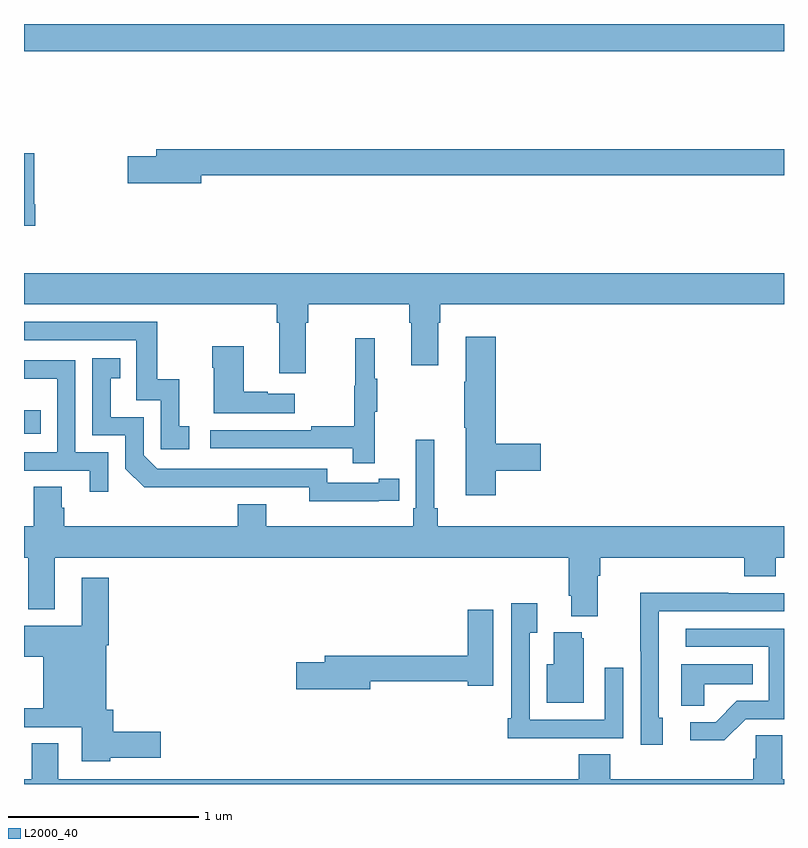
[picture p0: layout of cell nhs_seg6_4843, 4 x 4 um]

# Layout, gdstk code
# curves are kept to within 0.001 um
import gdstk
lib = gdstk.Library(unit=1e-6, precision=1e-09)
def R(c, l, rs):  # rectangles x0, y0, x1, y1
    for r in rs: c.add(gdstk.rectangle(r[:2], r[2:], *l))
def P(c, l, *ps):  # polygons
    for p in ps: c.add(gdstk.Polygon(p, *l))
L2000_40 = (2000, 40)

nhs_seg6_4843 = lib.new_cell('nhs_seg6_4843')
R(nhs_seg6_4843, L2000_40, [(399,925.344,399.089,925.467), (399,927.356,403,927.5)])
P(nhs_seg6_4843, L2000_40, [(399.934,926.704),(403,926.704),(403,926.84),(399.695,926.84),(399.695,926.804),(399.546,926.804),(399.546,926.662),(399.934,926.662)],
  [(399.059,926.551),(399.054,926.551),(399.054,926.82),(399,926.82),(399,926.439),(399.059,926.439)],
  [(400.483,925.928),(400.496,925.928),(400.496,926.024),(401.027,926.024),(401.027,925.928),(401.039,925.928),(401.039,925.704),(401.179,925.704),(401.179,925.928),(401.192,925.928),(401.192,926.024),(403,926.024),(403,926.188),(399,926.188),(399,926.024),(400.331,926.024),(400.331,925.928),(400.343,925.928),(400.343,925.662),(400.483,925.662)],
  [(399.871,925.383),(399.818,925.383),(399.818,925.63),(399.7,925.63),(399.7,925.932),(399,925.932),(399,925.836),(399.591,925.836),(399.591,925.521),(399.72,925.521),(399.72,925.263),(399.871,925.263)],
  [(401.483,925.15),(401.719,925.15),(401.719,925.292),(401.483,925.292),(401.483,925.855),(401.324,925.855),(401.324,925.616),(401.317,925.616),(401.317,925.375),(401.324,925.375),(401.324,925.02),(401.483,925.02)],
  [(400.847,925.459),(400.858,925.459),(400.858,925.633),(400.847,925.633),(400.847,925.846),(400.744,925.846),(400.744,925.596),(400.737,925.596),(400.737,925.382),(400.513,925.382),(400.513,925.362),(399.981,925.362),(399.981,925.266),(400.729,925.266),(400.729,925.188),(400.847,925.188)],
  [(400.426,925.555),(400.283,925.555),(400.283,925.565),(400.156,925.565),(400.156,925.804),(399.991,925.804),(399.991,925.691),(399.998,925.691),(399.998,925.451),(400.426,925.451)],
  [(400.868,924.99),(400.976,924.99),(400.976,925.106),(400.868,925.106),(400.868,925.086),(400.596,925.086),(400.596,925.158),(399.702,925.158),(399.63,925.23),(399.63,925.431),(399.457,925.431),(399.457,925.635),(399.506,925.635),(399.506,925.741),(399.36,925.741),(399.36,925.335),(399.534,925.335),(399.534,925.158),(399.632,925.061),(400.5,925.062),(400.5,924.989)],
  [(399.444,925.245),(399.27,925.245),(399.27,925.731),(399,925.731),(399,925.634),(399.174,925.634),(399.174,925.245),(399,925.245),(399,925.149),(399.347,925.149),(399.347,925.038),(399.444,925.038)],
  [(402.019,924.596),(402.032,924.596),(402.032,924.692),(402.791,924.692),(402.791,924.593),(402.956,924.593),(402.956,924.692),(403,924.692),(403,924.856),(401.177,924.856),(401.177,924.952),(401.158,924.952),(401.158,925.312),(401.061,925.312),(401.061,924.952),(401.048,924.952),(401.048,924.856),(400.276,924.856),(400.276,924.973),(400.124,924.973),(400.124,924.856),(399.212,924.856),(399.212,924.954),(399.199,924.954),(399.199,925.064),(399.052,925.064),(399.052,924.856),(399,924.856),(399,924.692),(399.023,924.692),(399.023,924.419),(399.163,924.419),(399.163,924.692),(401.867,924.692),(401.867,924.49),(401.879,924.49),(401.879,924.383),(402.019,924.383)],
  [(399.453,923.639),(399.721,923.639),(399.721,923.774),(399.47,923.774),(399.47,923.892),(399.433,923.892),(399.433,924.23),(399.446,924.23),(399.446,924.586),(399.305,924.586),(399.305,924.334),(399,924.334),(399,924.17),(399.101,924.17),(399.101,923.9),(399,923.9),(399,923.799),(399.305,923.799),(399.305,923.621),(399.453,923.621)],
  [(402.361,923.85),(402.342,923.85),(402.342,924.408),(403,924.408),(403,924.504),(402.707,924.504),(402.707,924.506),(402.244,924.506),(402.244,924.199),(402.246,924.199),(402.246,923.706),(402.361,923.706)],
  [(401.837,923.742),(402.153,923.742),(402.153,924.112),(402.057,924.112),(402.057,923.838),(401.661,923.838),(401.661,924.295),(401.701,924.295),(401.701,924.451),(401.565,924.451),(401.565,923.845),(401.545,923.845),(401.545,923.741),(401.837,923.741)],
  [(400.822,924.04),(401.336,924.04),(401.336,924.017),(401.47,924.017),(401.47,924.418),(401.336,924.418),(401.336,924.176),(400.583,924.176),(400.583,924.14),(400.434,924.14),(400.434,923.998),(400.822,923.998)],
  [(402.798,923.841),(403,923.841),(403,924.318),(402.483,924.318),(402.483,924.222),(402.921,924.222),(402.921,923.937),(402.752,923.937),(402.641,923.826),(402.507,923.826),(402.507,923.729),(402.685,923.729)],
  [(401.947,924.267),(401.936,924.267),(401.936,924.298),(401.789,924.298),(401.789,924.13),(401.75,924.13),(401.75,923.927),(401.947,923.927)],
  [(402.579,924.026),(402.836,924.026),(402.836,924.13),(402.458,924.13),(402.458,923.911),(402.579,923.911)],
  [(401.921,923.657),(401.921,923.524),(399.181,923.524),(399.181,923.714),(399.041,923.714),(399.041,923.524),(399,923.524),(399,923.5),(403,923.5),(403,923.524),(402.991,923.524),(402.991,923.756),(402.852,923.756),(402.852,923.633),(402.839,923.633),(402.839,923.524),(402.086,923.524),(402.086,923.657)])

lib.write_gds('nhs_seg6_4843.gds')
